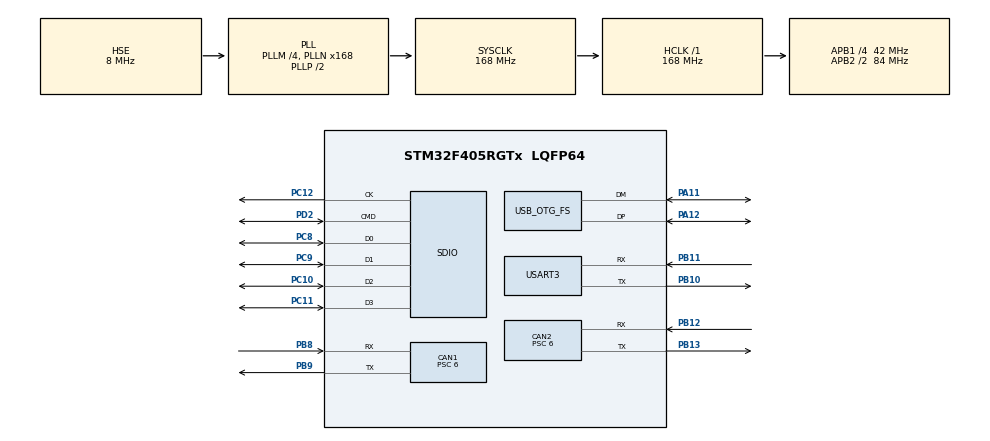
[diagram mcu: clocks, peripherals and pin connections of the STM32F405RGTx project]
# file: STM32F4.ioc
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ARM.CMSIS.5.6.0.CMSISOoDriverJjUSARTJjCustom=true
ARM.CMSIS.5.6.0.CMSISOoDriverJjUSBOoDeviceJjCustom=true
ARM.CMSIS.5.6.0.DeviceJjStartup=COoStartup
CAN1.BS1=CAN_BS1_11TQ
CAN1.BS2=CAN_BS2_2TQ
CAN1.CalculateTimeQuantum=142.85714285714286
CAN1.Mode=CAN_MODE_NORMAL
CAN1.NART=DISABLE
CAN1.Prescaler=6
CAN2.BS1=CAN_BS1_11TQ
CAN2.BS2=CAN_BS2_2TQ
CAN2.CalculateTimeQuantum=142.85714285714286
CAN2.Mode=CAN_MODE_NORMAL
CAN2.NART=DISABLE
CAN2.Prescaler=6
FATFS._MAX_SS=4096
FATFS._MULTI_PARTITION=1
FATFS._USE_LFN=1
Mcu.Family=STM32F4
Mcu.Name=STM32F405RGTx
Mcu.Package=LQFP64
NVIC.CAN1_RX0_IRQn=true\:0\:0\:false\:false\:true\:true\:true
NVIC.CAN1_TX_IRQn=true\:0\:0\:false\:false\:true\:true\:true
NVIC.CAN2_RX0_IRQn=true\:0\:0\:false\:false\:true\:true\:true
NVIC.CAN2_TX_IRQn=true\:0\:0\:false\:false\:true\:true\:true
NVIC.OTG_FS_IRQn=true\:0\:0\:false\:false\:true\:false\:true
NVIC.PriorityGroup=NVIC_PRIORITYGROUP_4
NVIC.RCC_IRQn=true\:0\:0\:false\:false\:true\:true\:false
NVIC.USART3_IRQn=true\:0\:0\:false\:false\:true\:true\:true
PA11.Mode=Device_Only
PA11.Signal=USB_OTG_FS_DM
PA12.Mode=Device_Only
PA12.Signal=USB_OTG_FS_DP
PB10.Mode=Asynchronous
PB10.Signal=USART3_TX
PB11.Mode=Asynchronous
PB11.Signal=USART3_RX
PB12.GPIO_PuPd=GPIO_NOPULL
PB12.Mode=Slave
PB12.Signal=CAN2_RX
PB13.GPIO_PuPd=GPIO_NOPULL
PB13.Mode=Slave
PB13.Signal=CAN2_TX
PB8.GPIO_PuPd=GPIO_NOPULL
PB8.Mode=Master
PB8.Signal=CAN1_RX
PB9.GPIO_PuPd=GPIO_NOPULL
PB9.Mode=Master
PB9.Signal=CAN1_TX
PC10.GPIO_PuPd=GPIO_PULLUP
PC10.Mode=SD_4_bits_Wide_bus
PC10.Signal=SDIO_D2
PC11.GPIO_PuPd=GPIO_PULLUP
PC11.Mode=SD_4_bits_Wide_bus
PC11.Signal=SDIO_D3
PC12.Mode=SD_4_bits_Wide_bus
PC12.Signal=SDIO_CK
PC8.GPIO_PuPd=GPIO_PULLUP
PC8.Mode=SD_4_bits_Wide_bus
PC8.Signal=SDIO_D0
PC9.GPIO_PuPd=GPIO_PULLUP
PC9.Mode=SD_4_bits_Wide_bus
PC9.Signal=SDIO_D1
PD2.GPIO_PuPd=GPIO_PULLUP
PD2.Mode=SD_4_bits_Wide_bus
PD2.Signal=SDIO_CMD
PH0-OSC_IN.Mode=HSE-External-Oscillator
PH0-OSC_IN.Signal=RCC_OSC_IN
PH1-OSC_OUT.Mode=HSE-External-Oscillator
PH1-OSC_OUT.Signal=RCC_OSC_OUT
ProjectManager.HeapSize=0x200
ProjectManager.StackSize=0x400
ProjectManager.TargetToolchain=Makefile
RCC.48MHZClocksFreq_Value=48000000
RCC.AHBFreq_Value=168000000
RCC.APB1CLKDivider=RCC_HCLK_DIV4
RCC.APB1Freq_Value=42000000
RCC.APB1TimFreq_Value=84000000
RCC.APB2CLKDivider=RCC_HCLK_DIV2
RCC.APB2Freq_Value=84000000
RCC.APB2TimFreq_Value=168000000
RCC.CortexFreq_Value=168000000
RCC.HCLKFreq_Value=168000000
RCC.HSE_VALUE=8000000
RCC.HSI_VALUE=16000000
RCC.LSE_VALUE=32768
RCC.PLLM=4
RCC.PLLN=168
RCC.PLLQ=7
RCC.SYSCLKFreq_VALUE=168000000
RCC.SYSCLKSource=RCC_SYSCLKSOURCE_PLLCLK
RCC.VCOOutputFreq_Value=336000000
USART3.VirtualMode=VM_ASYNC
USB_DEVICE.CLASS_NAME_FS=CDC
USB_DEVICE.VirtualMode-CDC_FS=Cdc
USB_DEVICE.VirtualModeFS=Cdc_FS
USB_OTG_FS.VirtualMode=Device_Only
VP_ARM.CMSIS_VS_CMSISOoDriverJjUSBOoDevice_2.2.0.Mode=CMSISOoDriverJjUSBOoDevice
VP_FATFS_VS_SDIO.Mode=SDIO
VP_RTC_VS_RTC_Activate.Mode=RTC_Enabled
VP_RTC_VS_RTC_Calendar.Mode=RTC_Calendar
VP_USB_DEVICE_VS_USB_DEVICE_CDC_FS.Mode=CDC_FS
board=custom

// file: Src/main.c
/* USER CODE BEGIN Header */
/**
  ******************************************************************************
  * @file           : main.c
  * @brief          : Main program body
  ******************************************************************************
  * @attention
  *
  * <h2><center>&copy; Copyright (c) 2020 STMicroelectronics.
  * All rights reserved.</center></h2>
  *
  * This software component is licensed by ST under Ultimate Liberty license
  * SLA0044, the "License"; You may not use this file except in compliance with
  * the License. You may obtain a copy of the License at:
  *                             www.st.com/SLA0044
  *
  ******************************************************************************
  */
/* USER CODE END Header */

#include "main.h"
#include "fatfs.h"
#include "usb_device.h"

/* USER CODE BEGIN Includes */
#include "nvs.h"
#include "rx_queue.h"
#include "cli.h"
#include "uart.h"
#include "gpio.h"
#include "filesystem.h"
#include "logger.h"
#include "can.h"
/* USER CODE END Includes */

CAN_HandleTypeDef hcan1;
CAN_HandleTypeDef hcan2;

RTC_HandleTypeDef hrtc;

SD_HandleTypeDef hsd;

UART_HandleTypeDef huart3;

/* USER CODE BEGIN PV */
/* Private variables ---------------------------------------------------------*/
volatile uint8_t gSystemInitialized = 0;
volatile uint8_t gFSInitialized = 0;

unsigned char bLogging = 0; // if =1 than we logging to SD card

// if defined CAN1 acting as loopback
// #define CAN1_LOOPBACK

// if defined CAN2 acting as loopback
// #define CAN2_LOOPBACK

/* USER CODE END PV */

void SystemClock_Config(void);
static void MX_GPIO_Init(void);
static void MX_USART3_UART_Init(void);
static void MX_CAN1_Init(void);
static void MX_CAN2_Init(void);
static void MX_SDIO_SD_Init(void);
static void MX_RTC_Init(void);
/* USER CODE BEGIN PFP */
/* Private function prototypes -----------------------------------------------*/
void User_GPIO_Init(void);
void LedG(uint8_t On);
void LedG_Toggle(void);
void LedB(uint8_t On);
void LedB_Toggle(void);
void LedR(uint8_t On);
void LedR_Toggle(void);
void ProcessModification(CAN_TxHeaderTypeDef* pTxMsg);
void RunTests(void);

void UART_ProcessData(uint8_t rx);

void Read_Param();

/* USER CODE END PFP */

int main(void)
{

  /* MCU Configuration--------------------------------------------------------*/

  /* Reset of all peripherals, Initializes the Flash interface and the Systick. */
  HAL_Init();

  /* Configure the system clock */
  SystemClock_Config();

  /* USER CODE BEGIN SysInit */
  nvs_init();
  /* USER CODE END SysInit */

  /* Initialize all configured peripherals */
  MX_GPIO_Init();
  MX_USB_DEVICE_Init();
  MX_USART3_UART_Init();
  MX_CAN1_Init();
  MX_CAN2_Init();
  MX_SDIO_SD_Init();
  MX_FATFS_Init();
  MX_RTC_Init();
  /* USER CODE BEGIN 2 */
  User_GPIO_Init();
  CAN_Init();
  LedG(1);

  CLI_Init();

  gSystemInitialized = 1;

 /* Output a message on Hyperterminal using printf function */
  printf("\n\r" APP_NAME "\n\r");
  printf("Version : " APP_VERSION "\n\r");
  printf("Compiled : " __DATE__ ", " __TIME__ "\n\r");
  INFO_MSG("CPU speed  : %ld MHz", SystemCoreClock / 1000000);

  if (init_filesystem() == FILESYSTEM_INIT_OK)
  {
    printf("FS mount successfuly\n\r");
    gFSInitialized = 1;
  }
  else
  {
    printf("Error mount FS\n\r");
  }

  RunTests(); // this is function to run transmission tests

  // this is loopback cycle
  if (GPIO_usb_is_connected())
  {
    CLI_Loop();
  }
  /* USER CODE END 2 */

  /* Infinite loop */
  /* USER CODE BEGIN WHILE */
  DEBUG_MSG("Original infinite loop");
  while (1)
  {
    /* USER CODE END WHILE */

    /* USER CODE BEGIN 3 */
    CAN_Loop();
    if (rx_queue_not_empty()) UART_ProcessData(rx_queue_get());
  }
  /* USER CODE END 3 */
}

void SystemClock_Config(void)
{
  RCC_OscInitTypeDef RCC_OscInitStruct = {0};
  RCC_ClkInitTypeDef RCC_ClkInitStruct = {0};
  RCC_PeriphCLKInitTypeDef PeriphClkInitStruct = {0};

  /** Configure the main internal regulator output voltage
  */
  __HAL_RCC_PWR_CLK_ENABLE();
  __HAL_PWR_VOLTAGESCALING_CONFIG(PWR_REGULATOR_VOLTAGE_SCALE1);
  /** Initializes the CPU, AHB and APB busses clocks
  */
  RCC_OscInitStruct.OscillatorType = RCC_OSCILLATORTYPE_LSI|RCC_OSCILLATORTYPE_HSE;
  RCC_OscInitStruct.HSEState = RCC_HSE_ON;
  RCC_OscInitStruct.LSIState = RCC_LSI_ON;
  RCC_OscInitStruct.PLL.PLLState = RCC_PLL_ON;
  RCC_OscInitStruct.PLL.PLLSource = RCC_PLLSOURCE_HSE;
  RCC_OscInitStruct.PLL.PLLM = 4;
  RCC_OscInitStruct.PLL.PLLN = 168;
  RCC_OscInitStruct.PLL.PLLP = RCC_PLLP_DIV2;
  RCC_OscInitStruct.PLL.PLLQ = 7;
  if (HAL_RCC_OscConfig(&RCC_OscInitStruct) != HAL_OK)
  {
    Error_Handler();
  }
  /** Initializes the CPU, AHB and APB busses clocks
  */
  RCC_ClkInitStruct.ClockType = RCC_CLOCKTYPE_HCLK|RCC_CLOCKTYPE_SYSCLK
                              |RCC_CLOCKTYPE_PCLK1|RCC_CLOCKTYPE_PCLK2;
  RCC_ClkInitStruct.SYSCLKSource = RCC_SYSCLKSOURCE_PLLCLK;
  RCC_ClkInitStruct.AHBCLKDivider = RCC_SYSCLK_DIV1;
  RCC_ClkInitStruct.APB1CLKDivider = RCC_HCLK_DIV4;
  RCC_ClkInitStruct.APB2CLKDivider = RCC_HCLK_DIV2;

  if (HAL_RCC_ClockConfig(&RCC_ClkInitStruct, FLASH_LATENCY_5) != HAL_OK)
  {
    Error_Handler();
  }
  PeriphClkInitStruct.PeriphClockSelection = RCC_PERIPHCLK_RTC;
  PeriphClkInitStruct.RTCClockSelection = RCC_RTCCLKSOURCE_LSI;
  if (HAL_RCCEx_PeriphCLKConfig(&PeriphClkInitStruct) != HAL_OK)
  {
    Error_Handler();
  }
}

static void MX_CAN1_Init(void)
{

  /* USER CODE BEGIN CAN1_Init 0 */
  CAN_FilterTypeDef  sFilterConfig;
  /* USER CODE END CAN1_Init 0 */

  /* USER CODE BEGIN CAN1_Init 1 */
  /* Read parameters from nvram */
  CAN_Read_Param();

#if 0
  /* USER CODE END CAN1_Init 1 */
  hcan1.Instance = CAN1;
  hcan1.Init.Prescaler = 6;
  hcan1.Init.Mode = CAN_MODE_NORMAL;
  hcan1.Init.SyncJumpWidth = CAN_SJW_1TQ;
  hcan1.Init.TimeSeg1 = CAN_BS1_11TQ;
  hcan1.Init.TimeSeg2 = CAN_BS2_2TQ;
  hcan1.Init.TimeTriggeredMode = DISABLE;
  hcan1.Init.AutoBusOff = DISABLE;
  hcan1.Init.AutoWakeUp = DISABLE;
  hcan1.Init.AutoRetransmission = DISABLE;
  hcan1.Init.ReceiveFifoLocked = DISABLE;
  hcan1.Init.TransmitFifoPriority = DISABLE;
  if (HAL_CAN_Init(&hcan1) != HAL_OK)
  {
    Error_Handler();
  }
  /* USER CODE BEGIN CAN1_Init 2 */
#endif
  /* Configure the CAN peripheral */
  hcan1.Instance = CAN1;
  hcan1.Init.Prescaler = iCAN1_Prescaler; //3 -- 1Msps , 6 -- 500Kbps
  #ifdef CAN1_LOOPBACK
    hcan1.Init.Mode = CAN_MODE_LOOPBACK;
  #else
    hcan1.Init.Mode = CAN_MODE_NORMAL;
  #endif
  hcan1.Init.SyncJumpWidth = CAN_SJW_1TQ;
  hcan1.Init.TimeSeg1 = CAN_BS1_11TQ;
  hcan1.Init.TimeSeg2 = CAN_BS2_2TQ;
  hcan1.Init.TimeTriggeredMode = DISABLE;
  hcan1.Init.AutoBusOff = DISABLE;
  hcan1.Init.AutoWakeUp = DISABLE;
  hcan1.Init.AutoRetransmission = DISABLE;
  hcan1.Init.ReceiveFifoLocked = DISABLE;
  hcan1.Init.TransmitFifoPriority = DISABLE;
  if (HAL_CAN_Init(&hcan1) != HAL_OK)
  {
    Error_Handler();
  }
  /* Configure the CAN Filter */
  sFilterConfig.FilterBank = 0;
  sFilterConfig.FilterMode = CAN_FILTERMODE_IDMASK;
  sFilterConfig.FilterScale = CAN_FILTERSCALE_32BIT;
  sFilterConfig.FilterIdHigh = 0x0000;
  sFilterConfig.FilterIdLow = 0x0000;
  sFilterConfig.FilterMaskIdHigh = 0x0000;
  sFilterConfig.FilterMaskIdLow = 0x0000;
  sFilterConfig.FilterFIFOAssignment = CAN_RX_FIFO0;
  sFilterConfig.FilterActivation = ENABLE;
  sFilterConfig.SlaveStartFilterBank = 14;

  if(HAL_CAN_ConfigFilter(&hcan1, &sFilterConfig) != HAL_OK)
  {
    /* Filter configuration Error */
    Error_Handler();
  }
  /* USER CODE END CAN1_Init 2 */

}

static void MX_CAN2_Init(void)
{

  /* USER CODE BEGIN CAN2_Init 0 */
  CAN_FilterTypeDef  sFilterConfig;
  /* USER CODE END CAN2_Init 0 */

  /* USER CODE BEGIN CAN2_Init 1 */
#if 0
  /* USER CODE END CAN2_Init 1 */
  hcan2.Instance = CAN2;
  hcan2.Init.Prescaler = 6;
  hcan2.Init.Mode = CAN_MODE_NORMAL;
  hcan2.Init.SyncJumpWidth = CAN_SJW_1TQ;
  hcan2.Init.TimeSeg1 = CAN_BS1_11TQ;
  hcan2.Init.TimeSeg2 = CAN_BS2_2TQ;
  hcan2.Init.TimeTriggeredMode = DISABLE;
  hcan2.Init.AutoBusOff = DISABLE;
  hcan2.Init.AutoWakeUp = DISABLE;
  hcan2.Init.AutoRetransmission = DISABLE;
  hcan2.Init.ReceiveFifoLocked = DISABLE;
  hcan2.Init.TransmitFifoPriority = DISABLE;
  if (HAL_CAN_Init(&hcan2) != HAL_OK)
  {
    Error_Handler();
  }
  /* USER CODE BEGIN CAN2_Init 2 */
#endif
  /* Configure the CAN peripheral */
  hcan2.Instance = CAN2;
  hcan2.Init.Prescaler = iCAN2_Prescaler; //3 -- 1Msps, 6 --500kBps
  #ifdef CAN2_LOOPBACK
    hcan2.Init.Mode = CAN_MODE_LOOPBACK;
  #else
    hcan2.Init.Mode = CAN_MODE_NORMAL;
  #endif
  hcan2.Init.SyncJumpWidth = CAN_SJW_1TQ;
  hcan2.Init.TimeSeg1 = CAN_BS1_11TQ;
  hcan2.Init.TimeSeg2 = CAN_BS2_2TQ;
  hcan2.Init.TimeTriggeredMode = DISABLE;
  hcan2.Init.AutoBusOff = DISABLE;
  hcan2.Init.AutoWakeUp = DISABLE;
  hcan2.Init.AutoRetransmission = DISABLE;
  hcan2.Init.ReceiveFifoLocked = DISABLE;
  hcan2.Init.TransmitFifoPriority = DISABLE;
  if (HAL_CAN_Init(&hcan2) != HAL_OK)
  {
    Error_Handler();
  }
  /*##-2- Configure the CAN Filter ###########################################*/
  sFilterConfig.FilterBank = 15;
  sFilterConfig.FilterMode = CAN_FILTERMODE_IDMASK;
  sFilterConfig.FilterScale = CAN_FILTERSCALE_32BIT;
  sFilterConfig.FilterIdHigh = 0x0000;
  sFilterConfig.FilterIdLow = 0x0000;
  sFilterConfig.FilterMaskIdHigh = 0x0000;
  sFilterConfig.FilterMaskIdLow = 0x0000;
  sFilterConfig.FilterFIFOAssignment = CAN_RX_FIFO0;
  sFilterConfig.FilterActivation = ENABLE;
  sFilterConfig.SlaveStartFilterBank = 14;

  if(HAL_CAN_ConfigFilter(&hcan2, &sFilterConfig) != HAL_OK)
  {
    /* Filter configuration Error */
    Error_Handler();
  }
  /* USER CODE END CAN2_Init 2 */
}

static void MX_RTC_Init(void)
{

  RTC_TimeTypeDef sTime = {0};
  RTC_DateTypeDef sDate = {0};

  /** Initialize RTC Only
  */
  hrtc.Instance = RTC;
  hrtc.Init.HourFormat = RTC_HOURFORMAT_24;
  hrtc.Init.AsynchPrediv = 127;
  hrtc.Init.SynchPrediv = 255;
  hrtc.Init.OutPut = RTC_OUTPUT_DISABLE;
  hrtc.Init.OutPutPolarity = RTC_OUTPUT_POLARITY_HIGH;
  hrtc.Init.OutPutType = RTC_OUTPUT_TYPE_OPENDRAIN;
  if (HAL_RTC_Init(&hrtc) != HAL_OK)
  {
    Error_Handler();
  }

  /** Initialize RTC and set the Time and Date
  */
  sTime.Hours = 0x0;
  sTime.Minutes = 0x0;
  sTime.Seconds = 0x0;
  sTime.DayLightSaving = RTC_DAYLIGHTSAVING_NONE;
  sTime.StoreOperation = RTC_STOREOPERATION_RESET;
  if (HAL_RTC_SetTime(&hrtc, &sTime, RTC_FORMAT_BCD) != HAL_OK)
  {
    Error_Handler();
  }
  sDate.WeekDay = RTC_WEEKDAY_MONDAY;
  sDate.Month = RTC_MONTH_JANUARY;
  sDate.Date = 0x1;
  sDate.Year = 0x0;

  if (HAL_RTC_SetDate(&hrtc, &sDate, RTC_FORMAT_BCD) != HAL_OK)
  {
    Error_Handler();
  }

}

static void MX_SDIO_SD_Init(void)
{

  hsd.Instance = SDIO;
  hsd.Init.ClockEdge = SDIO_CLOCK_EDGE_RISING;
  hsd.Init.ClockBypass = SDIO_CLOCK_BYPASS_DISABLE;
  hsd.Init.ClockPowerSave = SDIO_CLOCK_POWER_SAVE_DISABLE;
  hsd.Init.BusWide = SDIO_BUS_WIDE_1B;
  hsd.Init.HardwareFlowControl = SDIO_HARDWARE_FLOW_CONTROL_DISABLE;
  hsd.Init.ClockDiv = 0;

}

static void MX_USART3_UART_Init(void)
{

  /* USER CODE BEGIN USART3_Init 0 */
  static uint8_t usart3_init = 0;
  /* USER CODE END USART3_Init 0 */

  /* USER CODE BEGIN USART3_Init 1 */
  if (++usart3_init != 1)
    return;
  /* USER CODE END USART3_Init 1 */
  huart3.Instance = USART3;
  huart3.Init.BaudRate = 115200;
  huart3.Init.WordLength = UART_WORDLENGTH_8B;
  huart3.Init.StopBits = UART_STOPBITS_1;
  huart3.Init.Parity = UART_PARITY_NONE;
  huart3.Init.Mode = UART_MODE_TX_RX;
  huart3.Init.HwFlowCtl = UART_HWCONTROL_NONE;
  huart3.Init.OverSampling = UART_OVERSAMPLING_16;
  if (HAL_UART_Init(&huart3) != HAL_OK)
  {
    Error_Handler();
  }

}

static void MX_GPIO_Init(void)
{

  /* GPIO Ports Clock Enable */
  __HAL_RCC_GPIOH_CLK_ENABLE();
  __HAL_RCC_GPIOB_CLK_ENABLE();
  __HAL_RCC_GPIOC_CLK_ENABLE();
  __HAL_RCC_GPIOA_CLK_ENABLE();
  __HAL_RCC_GPIOD_CLK_ENABLE();

}

/* USER CODE BEGIN 4 */

uint32_t toggle_time_r = 0;
uint32_t toggle_time_g = 0;
uint32_t toggle_time_b = 0;

void main_tick_1ms()
{
}
void main_tick_5ms()
{
}
void main_tick_10ms()
{
}
void main_tick_50ms()
{
  if (toggle_time_r > 0)
  {
    HAL_GPIO_TogglePin(LEDR_GPIO, LEDR_PIN);
    toggle_time_r--;
    if (toggle_time_r == 0)
      HAL_GPIO_WritePin(LEDR_GPIO, LEDR_PIN, GPIO_PIN_RESET);
  }
  if (toggle_time_g > 0)
  {
    HAL_GPIO_TogglePin(LEDG_GPIO, LEDG_PIN);
    toggle_time_g--;
    if (toggle_time_g == 0)
      HAL_GPIO_WritePin(LEDG_GPIO, LEDG_PIN, GPIO_PIN_RESET);
  }
  if (toggle_time_b > 0)
  {
    HAL_GPIO_TogglePin(LEDB_GPIO, LEDB_PIN);
    toggle_time_b--;
    if (toggle_time_b == 0)
      HAL_GPIO_WritePin(LEDB_GPIO, LEDB_PIN, GPIO_PIN_RESET);
  }
}
void main_tick_100ms()
{
}
void main_tick_500ms()
{
}
void main_tick_1s()
{
}

void LedG(uint8_t On)
{
  HAL_GPIO_WritePin(LEDG_GPIO, LEDG_PIN, On);
}

void LedG_Toggle()
{
  HAL_GPIO_TogglePin(LEDG_GPIO, LEDG_PIN);
}

void LedB(uint8_t On)
{
  HAL_GPIO_WritePin(LEDB_GPIO, LEDB_PIN, On);
}

void LedB_Toggle()
{
  HAL_GPIO_TogglePin(LEDB_GPIO, LEDB_PIN);
}

void LedR(uint8_t On)
{
  HAL_GPIO_WritePin(LEDR_GPIO, LEDR_PIN, On);
}

void LedR_Toggle()
{
  HAL_GPIO_TogglePin(LEDR_GPIO, LEDR_PIN);
}

//----------------------------------------------------------------------------------------
// Serial UART over USB configuration code section (communication protocol FSM)
//----------------------------------------------------------------------------------------
typedef enum
{
  UART_STATE_IDLE, // waiting for command
  UART_STATE_SYNC_1, // receiving sync byte 1
  UART_STATE_SYNC_2, // receiving sync byte 2
  UART_STATE_ADDR_0, // receiving addr byte 0
  UART_STATE_ADDR_1, // receiving addr byte 1
  UART_STATE_ADDR_2, // receiving addr byte 1
  UART_STATE_ADDR_3, // receiving addr byte 1
  UART_STATE_LEN_0, // receiving length byte 2
  UART_STATE_LEN_1, // receiving sync byte 2
  UART_STATE_CMD, // command byte
  UART_STATE_WRITE_0, // receive write byte 0
  UART_STATE_WRITE_1, // receive write byte 0
  UART_STATE_WRITE_2, // receive write byte 0
  UART_STATE_WRITE_3, // receive write byte 0
} UART_RX_CMD_States;

UART_RX_CMD_States bUartRxState = UART_STATE_IDLE;
uint32_t iMemRWAddr = 0;
uint16_t iMemRWByteCount = 0;
uint8_t * bUARTMemTxBuff; // this is actually memory buffer for
uint8_t bUARTMemTxResponse[3] = {'1', '2', 'Y'};

// Variable used for Erase procedure
static FLASH_EraseInitTypeDef EraseInitStruct;
uint32_t PAGEError = 0;
uint32_t iFlashData = 0;

#include "usbd_cdc_if.h"

void UART_ProcessData(uint8_t rx)
{
  if (bUartRxState == UART_STATE_IDLE)
  {
    if (rx == '1')
      bUartRxState = UART_STATE_SYNC_1;
  }
  else
  if (bUartRxState == UART_STATE_SYNC_1)
  {
    if (rx == '2')
      bUartRxState = UART_STATE_ADDR_0;
    else
      bUartRxState = UART_STATE_IDLE;
  }
  else
  if (bUartRxState == UART_STATE_ADDR_0)
  {
    iMemRWAddr = rx << 24;
    bUartRxState = UART_STATE_ADDR_1;
  }
  else
  if (bUartRxState == UART_STATE_ADDR_1)
  {
    iMemRWAddr |= rx << 16;
    bUartRxState = UART_STATE_ADDR_2;
  }
  else
  if (bUartRxState == UART_STATE_ADDR_2)
  {
    iMemRWAddr |= rx << 8;
    bUartRxState = UART_STATE_ADDR_3;
  }
  else
  if (bUartRxState == UART_STATE_ADDR_3)
  {
    iMemRWAddr |= rx << 0;
    bUartRxState = UART_STATE_LEN_0;
  }
  else
  if (bUartRxState == UART_STATE_LEN_0)
  {
    iMemRWByteCount = rx << 16;
    bUartRxState = UART_STATE_LEN_1;
  }
  else
  if (bUartRxState == UART_STATE_LEN_1)
  {
    iMemRWByteCount |= rx << 0;
    bUartRxState = UART_STATE_CMD;
  }
  else
  if (bUartRxState == UART_STATE_CMD)
  {
    if (rx == 'R')
    {
      bUartRxState = UART_STATE_IDLE;
      bUARTMemTxBuff = ((uint8_t*)(iMemRWAddr)); // construct pointer to memory from integer address
      CDC_Transmit_FS(bUARTMemTxBuff, iMemRWByteCount);
    }
    else
    if (rx == 'E')
    {
      bUartRxState = UART_STATE_IDLE;
      HAL_NVIC_SystemReset();
    }
    else
    if (rx == 'F')
    {
      // Unlock the Flash to enable the flash control register access
      HAL_FLASH_Unlock();

      // Fill EraseInit structure
#ifdef STM32F405xx
		EraseInitStruct.TypeErase   = FLASH_TYPEERASE_SECTORS;
		EraseInitStruct.Sector      = iMemRWAddr;
		EraseInitStruct.NbSectors   = 1;
#else
		EraseInitStruct.TypeErase   = FLASH_TYPEERASE_PAGES;
		EraseInitStruct.PageAddress = iMemRWAddr;
		EraseInitStruct.NbPages     = 1; // we arasing only one page (teh last one)
#endif

      // Erase the user Flash area
      if (HAL_FLASHEx_Erase(&EraseInitStruct, &PAGEError) != HAL_OK)
      {
        LedR(1);
        bUARTMemTxResponse[2] = 'N';
      }
      else
        bUARTMemTxResponse[2] = 'Y';

      // transmit back response
      CDC_Transmit_FS(bUARTMemTxResponse, 3);

      bUartRxState = UART_STATE_IDLE;
    }
    else
    if (rx == 'W')
    {
      bUartRxState = UART_STATE_WRITE_0;

      // Unlock the Flash to enable the flash control register access
      HAL_FLASH_Unlock();
    }
  }
  else
  if (bUartRxState == UART_STATE_WRITE_0)
  {
    iFlashData = (rx)&0xFF;
    bUartRxState = UART_STATE_WRITE_1;
  }
  else
  if (bUartRxState == UART_STATE_WRITE_1)
  {
    iFlashData |= ((rx)&0xFF) << 8;
    bUartRxState = UART_STATE_WRITE_2;
  }
  else
  if (bUartRxState == UART_STATE_WRITE_2)
  {
    iFlashData |= ((rx)&0xFF) << 16;
    bUartRxState = UART_STATE_WRITE_3;
  }
  else
  if (bUartRxState == UART_STATE_WRITE_3)
  {
    iFlashData |= ((rx)&0xFF) << 24;
    bUartRxState = UART_STATE_WRITE_3;
    // writing data
    if (HAL_FLASH_Program(FLASH_TYPEPROGRAM_WORD, iMemRWAddr, iFlashData) != HAL_OK)
    {
      // here is error situation
      LedR(1);
      bUARTMemTxResponse[2] = 'N';

      // lock flash control
      HAL_FLASH_Lock();

      // transmit back response
      CDC_Transmit_FS(bUARTMemTxResponse, 3);

      bUartRxState = UART_STATE_IDLE;
    }

    // incrementing address
    iMemRWByteCount = iMemRWByteCount - 4;
    iMemRWAddr = iMemRWAddr + 4;

    if (iMemRWByteCount <= 0)
    {
      // programming finished
      bUARTMemTxResponse[2] = 'Y';

      // lock flash control
      HAL_FLASH_Lock();

      // transmit back response
      CDC_Transmit_FS(bUARTMemTxResponse, 3);

      bUartRxState = UART_STATE_IDLE;
    }
    else
      bUartRxState = UART_STATE_WRITE_0;
  }
}

//----------------------------------------------------------------------------------------
// Functional tests for transmission
//----------------------------------------------------------------------------------------
// type of CAN ID for tests
// #define TEST_STD // if not defined, then Extended ID used

// if defined CAN1 constantly transmits the data
// #define TEST_CAN1_TRANSMIT

// if defined CAN2 constantly transmits the data
//#define TEST_CAN2_TRANSMIT

// if defined then we waiting for received data and then checks the contents (used in TEST_CANX_TRANSMIT)
//#define TEST_LOOPBACK_CHECK

// incremented data and ID then masked to constrain the range
//#define TEST_TRANSMIT_MASK 0xF
#define TEST_TRANSMIT_MASK 0xFFFFFFFF

// if defined CAN1 transmits one packet every 1s
//#define TEST_CAN1_INJECTION

// if defined CAN2 transmits one packet every 1s
//#define TEST_CAN2_INJECTION

// if defined then no transmission
//#define TEST_LISTEN_ONLY

// if defined leds blink
//#define TEST_BLINKY

void RunTests()
{
#if defined(TEST_CAN1_INJECTION) || defined(TEST_CAN2_INJECTION) || defined(TEST_CAN1_TRANSMIT) || defined(TEST_CAN2_TRANSMIT)
  uint32_t tickstart = 0;
  CanTxMsgTypeDef *pTxMsg;
  CanRxMsgTypeDef *pRxMsg;
  CAN_HandleTypeDef *hcan;
#endif

	#ifdef TEST_BLINKY

    while(1)
    {
       // Toggle all LED
			LedG_Toggle();
			LedR_Toggle();
			LedB_Toggle();
       // Delay for 1sec
			HAL_Delay(1000);
    }
	#endif

  #ifdef TEST_LISTEN_ONLY
    while (1) if (RxQueueNotEmpty()) UART_ProcessData(RxQueueGet());
  #endif

  #if defined(TEST_CAN1_INJECTION) || defined(TEST_CAN2_INJECTION)
    // selecting buffer and CAN instance
    #if defined(TEST_CAN1_INJECTION)
      pTxMsg = hcan1.pTxMsg;
      hcan = &hcan1;
    #else
      pTxMsg = hcan2.pTxMsg;
      hcan = &hcan2;
    #endif

    pTxMsg->StdId = 0x7EA;
    pTxMsg->ExtId = 0x7EA;
    pTxMsg->IDE = CAN_ID_STD;
    pTxMsg->DLC = 8;
    pTxMsg->Data[7] = 0x44;
    pTxMsg->Data[6] = 0x54;
    pTxMsg->Data[5] = 0x4A;
    pTxMsg->Data[4] = 0x01;
    pTxMsg->Data[3] = 0x02;
    pTxMsg->Data[2] = 0x49;
    pTxMsg->Data[1] = 0x14;
    pTxMsg->Data[0] = 0x10;

    #ifdef TEST_STD
      pTxMsg->IDE = CAN_ID_STD;
    #else
      pTxMsg->IDE = CAN_ID_EXT;
    #endif

    while (1)
    {
      if (HAL_CAN_Transmit_IT(hcan) != HAL_OK)
      {
        LedR_Toggle();
      }

      // waiting one second
      tickstart = HAL_GetTick();
      while((HAL_GetTick() - tickstart) < 1000)
      {
        if (RxQueueNotEmpty()) UART_ProcessData(RxQueueGet());
      }
    }
  #endif

  #if defined(TEST_CAN1_TRANSMIT) || defined(TEST_CAN2_TRANSMIT)
    // selecting buffer and CAN instance
    #if defined(TEST_CAN1_TRANSMIT)
      pTxMsg = hcan1.pTxMsg;
      pRxMsg = hcan1.pRxMsg;
      hcan = &hcan1;
    #else
      pTxMsg = hcan2.pTxMsg;
      pRxMsg = hcan2.pRxMsg;
      hcan = &hcan2;
    #endif

    pTxMsg->StdId = 0;
    pTxMsg->ExtId = 1;
    pTxMsg->IDE = CAN_ID_STD;
    pTxMsg->DLC = 8;
    pTxMsg->Data[0] = 0;
    pTxMsg->Data[1] = 1;
    pTxMsg->Data[2] = 2;
    pTxMsg->Data[3] = 3;
    pTxMsg->Data[4] = 4;
    pTxMsg->Data[5] = 5;
    pTxMsg->Data[6] = 6;
    pTxMsg->Data[7] = 7;

    #ifdef TEST_STD
      pTxMsg->IDE = CAN_ID_STD;
    #else
      pTxMsg->IDE = CAN_ID_EXT;
    #endif

    while (1)
    {
      #if defined(TEST_CAN1_TRANSMIT)
        bCAN2_TxReq = 0;
      #else
        bCAN1_TxReq = 0;
      #endif

        DEBUG_MSG("ErrorCode: %x", (int)hcan->ErrorCode);
        DEBUG_MSG("State: %x", (int)hcan->State);
      // sending
      //if (HAL_CAN_Transmit_IT(hcan) != HAL_OK)
      if (HAL_CAN_Transmit(hcan, 10) != HAL_OK)
      {
        LedR_Toggle();
      }

      #ifdef TEST_LOOPBACK_CHECK
        // waiting for reception
        #if defined(TEST_CAN1_TRANSMIT)
          while (bCAN2_TxReq == 0)
        #else
          while (bCAN1_TxReq == 0)
        #endif
        {
          if (RxQueueNotEmpty()) UART_ProcessData(RxQueueGet());
        };

        #ifdef TEST_STD
          if (pTxMsg->StdId != pRxMsg->StdId) LedR(1);
        #else
          if (pTxMsg->ExtId != pRxMsg->ExtId) LedR(1);
        #endif

        if (pTxMsg->Data[0] != pRxMsg->Data[0]) LedR(1);
        if (pTxMsg->Data[1] != pRxMsg->Data[1]) LedR(1);
        if (pTxMsg->Data[2] != pRxMsg->Data[2]) LedR(1);
        if (pTxMsg->Data[3] != pRxMsg->Data[3]) LedR(1);
        if (pTxMsg->Data[4] != pRxMsg->Data[4]) LedR(1);
        if (pTxMsg->Data[5] != pRxMsg->Data[5]) LedR(1);
        if (pTxMsg->Data[6] != pRxMsg->Data[6]) LedR(1);
        if (pTxMsg->Data[7] != pRxMsg->Data[7]) LedR(1);
      #endif

      pTxMsg->StdId++;  pTxMsg->StdId &= ((1 << 11)-1);
      pTxMsg->ExtId++;  pTxMsg->ExtId &= ((1 << 24)-1);
      pTxMsg->Data[0]++;
      pTxMsg->Data[1]++;
      pTxMsg->Data[2]++;
      pTxMsg->Data[3]++;
      pTxMsg->Data[4]++;
      pTxMsg->Data[5]++;
      pTxMsg->Data[6]++;
      pTxMsg->Data[7]++;

      pTxMsg->StdId &= TEST_TRANSMIT_MASK;
      pTxMsg->ExtId &= TEST_TRANSMIT_MASK;
//if (pTxMsg->StdId & 0x8) pTxMsg->StdId |= 0x100; if (pTxMsg->ExtId & 0x8) pTxMsg->ExtId |= 0x100;
      pTxMsg->Data[0] &= TEST_TRANSMIT_MASK;
      pTxMsg->Data[1] &= TEST_TRANSMIT_MASK;
      pTxMsg->Data[2] &= TEST_TRANSMIT_MASK;
      pTxMsg->Data[3] &= TEST_TRANSMIT_MASK;
      pTxMsg->Data[4] &= TEST_TRANSMIT_MASK;
      pTxMsg->Data[5] &= TEST_TRANSMIT_MASK;
      pTxMsg->Data[6] &= TEST_TRANSMIT_MASK;
      pTxMsg->Data[7] &= TEST_TRANSMIT_MASK;

      // waiting one second
      tickstart = HAL_GetTick();
      while((HAL_GetTick() - tickstart) < 1000)
      {
        if (rx_queue_not_empty()) UART_ProcessData(rx_queue_get());
      }
    }
  #endif
}

#if 0
/* USER CODE END 4 */

void Error_Handler(void)
{
  /* USER CODE BEGIN Error_Handler_Debug */
#else
void __Error_Handler(const char *func, int line)
{
#endif
  /* User can add his own implementation to report the HAL error return state */
  if (gSystemInitialized == 1)
  {
    char msg[256];
    snprintf(msg, sizeof(msg), "\n\rError handle at : %s:%d\n\r", func, line);
	  LedR(1);
	  infinite_message(msg);
  }
  else
  {
    printf("\n\rError handle at : %s:%d\n\r", func, line);
  }
  /* USER CODE END Error_Handler_Debug */
}

#ifdef  USE_FULL_ASSERT
/**
  * @brief  Reports the name of the source file and the source line number
  *         where the assert_param error has occurred.
  * @param  file: pointer to the source file name
  * @param  line: assert_param error line source number
  * @retval None
  */
void assert_failed(uint8_t *file, uint32_t line)
{
  /* USER CODE BEGIN 6 */
  /* User can add his own implementation to report the file name and line number */
    printf("Wrong parameters value: file %s on line %d\r\n", file, (int)line);
  /* USER CODE END 6 */
}
#endif /* USE_FULL_ASSERT */

/************************ (C) COPYRIGHT STMicroelectronics *****END OF FILE****/
